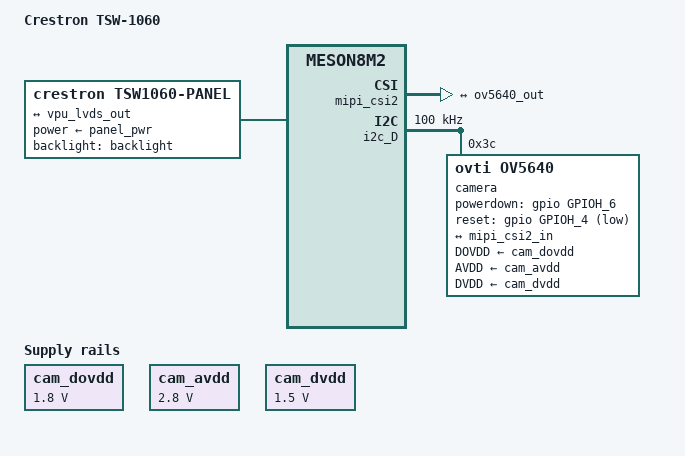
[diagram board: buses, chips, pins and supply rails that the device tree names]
// SPDX-License-Identifier: (GPL-2.0+ OR MIT)
/*
 * Crestron TSW-1060 and TSS-10 (board "yushan_one", 10-inch 1280x800 LVDS
 * panel). Common parts: meson8m2-crestron-tsw-xx60.dtsi.
 */

/dts-v1/;

#include "meson8m2-crestron-tsw-xx60.dtsi"
#include <dt-bindings/media/video-interfaces.h>

/ {
	model = "Crestron TSW-1060";
	compatible = "crestron,tsw1060", "amlogic,meson8m2";

	chosen {
		/* U-Boot env: fb_addr=0x07900000, 24 bpp, COLOR_INDEX_24_RGB (R at bit 16) */
		framebuffer@7900000 {
			compatible = "simple-framebuffer";
			reg = <0x07900000 (1280 * 800 * 3)>;
			width = <1280>;
			height = <800>;
			stride = <(1280 * 3)>;
			format = "r8g8b8";
			/*
			 * Keep the LVDS pipeline U-Boot set up alive (verified
			 * without clk_ignore_unused/pd_ignore_unused):
			 * - cts_encl is required: it holds the whole chain
			 *   vid2_pll_dco .. viid_pll_lvds_en .. vclk2_div1.
			 * - the vclk2_vencl/venclmcc and vpu_intr gates are
			 *   CLK_IGNORE_UNUSED pclks and survive anyway; they are
			 *   listed so the dependency is explicit.
			 * - vpu is also held by the pwrc, which marks the VPU
			 *   domain always-on when U-Boot left it powered.
			 */
			clocks = <&clkc CLKID_CTS_ENCL>,
				 <&clkc CLKID_VIID_PLL_LVDS_EN>,
				 <&clkc CLKID_VCLK2_VENCL>,
				 <&clkc CLKID_VCLK2_VENCLMCC>,
				 <&clkc CLKID_VPU_INTR>,
				 <&clkc CLKID_VPU>;
			power-domains = <&pwrc PWRC_MESON8_VPU_ID>;
			status = "okay";
		};
	};

	/*
	 * LVDS panel: 10.1-inch 1280x800, single link, 8 bit, VESA mapping.
	 * Timings from the vendor lcd_LP097X02 node (yushan_one_10inch.dtd) and the
	 * live vendor driver: total 1360x835, 68.136 MHz, hsync 20/30 (high),
	 * vsync 2/4 (low). Power: the regulator chain in the dtsi.
	 */
	panel: panel {
		compatible = "crestron,tsw1060-panel", "panel-lvds";
		width-mm = <217>;
		height-mm = <136>;
		data-mapping = "vesa-24";
		power-supply = <&panel_pwr>;
		backlight = <&backlight>;

		panel-timing {
			clock-frequency = <68136000>;
			hactive = <1280>;
			vactive = <800>;
			hfront-porch = <30>;
			hsync-len = <20>;
			hback-porch = <30>;
			vfront-porch = <29>;
			vsync-len = <2>;
			vback-porch = <4>;
			hsync-active = <1>;
			vsync-active = <0>;
		};

		port {
			panel_in: endpoint {
				remote-endpoint = <&vpu_lvds_out>;
			};
		};
	};

	/*
	 * Vendor U-Boot display configuration, the 10-inch values
	 * (yushan_one_10inch).
	 * For the vendor U-Boot only: see the comment above /vpu in
	 * meson8m2-crestron-tsw-xx60.dtsi. The vendor keeps the model name
	 * LP097X02 on every panel size.
	 */
	bl_extern_i2c_mp3309c {
		compatible = "amlogic,bl_i2c_mp3309c";
		dev_name = "bl_i2c_mp3309c";
		status = "okay";
		gpio_enable_on_off = "GPIODV_28", "1", "0";
		type = <0>;
		i2c_address = <0x17>;
		i2c_bus = "i2c_bus_b";
		dim_max_min = <23 1>;
		dim_max_min_edt = <24 2>;
	};

	lcd_LP097X02 {
		model_name = "LP097X02";
		interface = "lvds";
		active_area = <217 136>;
		lcd_bits_option = <8 1>;
		resolution = <1280 800>;
		period = <1360 835>;
		clock_hz_pol = <68136000 0>;
		hsync_width_backporch = <20 30>;
		vsync_width_backporch = <2 4>;
		pol_hsync_vsync = <1 12>;
		max_lane_count = <4>;
	};
};

&touchscreen {
	touchscreen-size-x = <1280>;
	touchscreen-size-y = <800>;

	/*
	 * The glass extends to the right of the LCD: five capacitive
	 * keys in a column at x = 1310..1380 of the touch controller
	 * (vendor tpkey_1..5, reported by the vendor FocalTech driver
	 * as KEY_BACK, KEY_HOME, KEY_MUTE, KEY_VOLUMEUP,
	 * KEY_VOLUMEDOWN). Here the areas are widened by 20 units and
	 * report KEY_F13..KEY_F17, keys that neither Chromium nor
	 * the compositor act on; userspace (tsx-buttons) maps them.
	 * The touchscreen segment drops contacts outside the LCD.
	 */
	touch-overlay {
		segment-screen {
			label = "screen";
			x-origin = <0>;
			x-size = <1280>;
			y-origin = <0>;
			y-size = <800>;
		};

		segment-key1 {
			label = "key1";
			linux,code = <KEY_F13>;
			x-origin = <1290>;
			x-size = <120>;
			y-origin = <30>;
			y-size = <130>;
		};

		segment-key2 {
			label = "key2";
			linux,code = <KEY_F14>;
			x-origin = <1290>;
			x-size = <120>;
			y-origin = <190>;
			y-size = <130>;
		};

		segment-key3 {
			label = "key3";
			linux,code = <KEY_F15>;
			x-origin = <1290>;
			x-size = <120>;
			y-origin = <330>;
			y-size = <130>;
		};

		segment-key4 {
			label = "key4";
			linux,code = <KEY_F16>;
			x-origin = <1290>;
			x-size = <120>;
			y-origin = <480>;
			y-size = <130>;
		};

		segment-key5 {
			label = "key5";
			linux,code = <KEY_F17>;
			x-origin = <1290>;
			x-size = <120>;
			y-origin = <630>;
			y-size = <130>;
		};
	};
};

/* Audio: AIU I2S -> ZLS38051 -> 2x TFA9890 (after the panel: node order) */
#include "meson8m2-crestron-tsw1060-audio.dtsi"

/*
 * Camera: an OmniVision OV5640 on I2C_D at 0x3c, 2-lane MIPI CSI-2. The
 * vendor board file names an OV5645, but the sensor on the TSS-10 reads
 * chip ID 0x5640 (revision 0xb0). Mainline has no Meson8 CSI-2 receiver,
 * so the endpoint has no remote. This node only lets the sensor driver
 * power the sensor and read its chip ID.
 *
 * GPIOH_6 is the power-down line (high powers the sensor down, as in the
 * vendor OV5640 entry). GPIOH_4 is the reset line (active low). The master
 * clock is 24 MHz from GEN_CLK (XTAL, divider 1) on GPIOH_9. The vendor
 * never switches a camera supply, so the three supplies are fixed and
 * always on. Their voltages are the OV5640 nominal values.
 */
/ {
	cam_dovdd: regulator-cam-dovdd {
		compatible = "regulator-fixed";
		regulator-name = "CAM_DOVDD";
		regulator-min-microvolt = <1800000>;
		regulator-max-microvolt = <1800000>;
		regulator-always-on;
	};

	cam_avdd: regulator-cam-avdd {
		compatible = "regulator-fixed";
		regulator-name = "CAM_AVDD";
		regulator-min-microvolt = <2800000>;
		regulator-max-microvolt = <2800000>;
		regulator-always-on;
	};

	cam_dvdd: regulator-cam-dvdd {
		compatible = "regulator-fixed";
		regulator-name = "CAM_DVDD";
		regulator-min-microvolt = <1500000>;
		regulator-max-microvolt = <1500000>;
		regulator-always-on;
	};
};

&pinctrl_cbus {
	gen_clk_h_pins: gen-clk-h {
		mux {
			groups = "gen_clk_h";
			function = "gen_clk";
			bias-disable;
		};
	};
};

&mipi_csi2 {
	status = "okay";

	port {
		mipi_csi2_in: endpoint {
			remote-endpoint = <&ov5640_out>;
			data-lanes = <1 2>;
		};
	};
};

&i2c_D {
	status = "okay";
	pinctrl-0 = <&i2c_d1_pins>;
	pinctrl-names = "default";
	clock-frequency = <100000>;

	camera@3c {
		compatible = "ovti,ov5640";
		reg = <0x3c>;
		pinctrl-0 = <&gen_clk_h_pins>;
		pinctrl-names = "default";
		clocks = <&clkc CLKID_GEN_CLK>;
		clock-names = "xclk";
		assigned-clocks = <&clkc CLKID_GEN_CLK>;
		assigned-clock-rates = <24000000>;
		powerdown-gpios = <&gpio GPIOH_6 GPIO_ACTIVE_HIGH>;
		reset-gpios = <&gpio GPIOH_4 GPIO_ACTIVE_LOW>;
		DOVDD-supply = <&cam_dovdd>;
		AVDD-supply = <&cam_avdd>;
		DVDD-supply = <&cam_dvdd>;

		port {
			ov5640_out: endpoint {
				remote-endpoint = <&mipi_csi2_in>;
				bus-type = <MEDIA_BUS_TYPE_CSI2_DPHY>;
				clock-lanes = <0>;
				data-lanes = <1 2>;
			};
		};
	};
};
